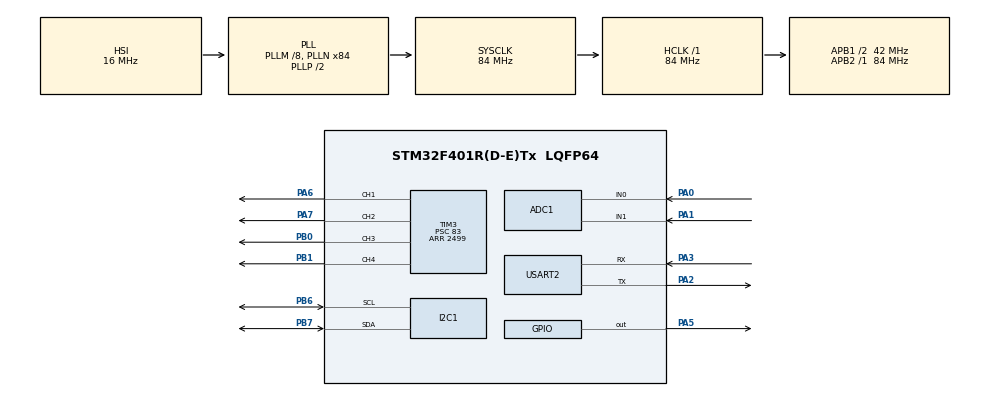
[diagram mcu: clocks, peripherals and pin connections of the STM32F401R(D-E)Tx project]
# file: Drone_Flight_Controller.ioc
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ADC1.Channel-0\#ChannelRegularConversion=ADC_CHANNEL_1
ADC1.Channel-1\#ChannelRegularConversion=ADC_CHANNEL_0
ADC1.ContinuousConvMode=ENABLE
ADC1.NbrOfConversion=2
ADC1.NbrOfConversionFlag=1
ADC1.Rank-0\#ChannelRegularConversion=1
ADC1.Rank-1\#ChannelRegularConversion=2
ADC1.SamplingTime-0\#ChannelRegularConversion=ADC_SAMPLETIME_3CYCLES
ADC1.SamplingTime-1\#ChannelRegularConversion=ADC_SAMPLETIME_3CYCLES
ADC1.master=1
FREERTOS.Queues01=sensorData,30,float,0,Dynamic,NULL,NULL
FREERTOS.Tasks01=contole,48,512,StartDefaultTask,Default,NULL,Dynamic,NULL,NULL;sensor_read,48,512,StartTask02,Default,NULL,Dynamic,NULL,NULL;senosr_fusion,32,512,StartTask03,Default,NULL,Dynamic,NULL,NULL;motoroutput,32,512,StartTask04,Default,NULL,Dynamic,NULL,NULL;communication,25,512,StartTask05,Default,NULL,Dynamic,NULL,NULL;GPS,12,128,StartTask06,Default,NULL,Dynamic,NULL,NULL
Mcu.Family=STM32F4
Mcu.Name=STM32F401R(D-E)Tx
Mcu.Package=LQFP64
NVIC.PriorityGroup=NVIC_PRIORITYGROUP_4
NVIC.TIM2_IRQn=true\:15\:0\:false\:false\:true\:false\:false\:true\:true
NVIC.TimeBase=TIM2_IRQn
NVIC.TimeBaseIP=TIM2
PA0-WKUP.Signal=ADCx_IN0
PA1.Signal=ADCx_IN1
PA13.Mode=Serial_Wire
PA13.Signal=SYS_JTMS-SWDIO
PA14.Mode=Serial_Wire
PA14.Signal=SYS_JTCK-SWCLK
PA2.Mode=Asynchronous
PA2.Signal=USART2_TX
PA3.Mode=Asynchronous
PA3.Signal=USART2_RX
PA5.Signal=GPIO_Output
PA6.Signal=S_TIM3_CH1
PA7.Signal=S_TIM3_CH2
PB0.Signal=S_TIM3_CH3
PB1.Signal=S_TIM3_CH4
PB6.Mode=I2C
PB6.Signal=I2C1_SCL
PB7.Mode=I2C
PB7.Signal=I2C1_SDA
ProjectManager.HeapSize=0x200
ProjectManager.StackSize=0x400
ProjectManager.TargetToolchain=STM32CubeIDE
RCC.48MHZClocksFreq_Value=42000000
RCC.AHBFreq_Value=84000000
RCC.APB1CLKDivider=RCC_HCLK_DIV2
RCC.APB1Freq_Value=42000000
RCC.APB1TimFreq_Value=84000000
RCC.APB2Freq_Value=84000000
RCC.APB2TimFreq_Value=84000000
RCC.CortexFreq_Value=84000000
RCC.HCLKFreq_Value=84000000
RCC.HSE_VALUE=25000000
RCC.HSI_VALUE=16000000
RCC.LSE_VALUE=32768
RCC.PLLM=8
RCC.PLLN=84
RCC.SYSCLKFreq_VALUE=84000000
RCC.SYSCLKSource=RCC_SYSCLKSOURCE_PLLCLK
RCC.VCOOutputFreq_Value=168000000
SH.ADCx_IN0.0=ADC1_IN0,IN0
SH.ADCx_IN1.0=ADC1_IN1,IN1
SH.S_TIM3_CH1.0=TIM3_CH1,PWM Generation1 CH1
SH.S_TIM3_CH2.0=TIM3_CH2,PWM Generation2 CH2
SH.S_TIM3_CH3.0=TIM3_CH3,PWM Generation3 CH3
SH.S_TIM3_CH4.0=TIM3_CH4,PWM Generation4 CH4
TIM3.Channel-PWM\ Generation1\ CH1=TIM_CHANNEL_1
TIM3.Channel-PWM\ Generation2\ CH2=TIM_CHANNEL_2
TIM3.Channel-PWM\ Generation3\ CH3=TIM_CHANNEL_3
TIM3.Channel-PWM\ Generation4\ CH4=TIM_CHANNEL_4
TIM3.Period=2499
TIM3.Prescaler=83
USART2.VirtualMode=VM_ASYNC
VP_FREERTOS_VS_CMSIS_V2.Mode=CMSIS_V2
VP_SYS_VS_tim2.Mode=TIM2
VP_TIM3_VS_ClockSourceINT.Mode=Internal
board=custom

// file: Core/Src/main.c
/* USER CODE BEGIN Header */
/**
  ******************************************************************************
  * @file           : main.c
  * @brief          : Main program body
  ******************************************************************************
  * @attention
  *
  * Copyright (c) 2026 STMicroelectronics.
  * All rights reserved.
  *
  * This software is licensed under terms that can be found in the LICENSE file
  * in the root directory of this software component.
  * If no LICENSE file comes with this software, it is provided AS-IS.
  *
  ******************************************************************************
  */
/* USER CODE END Header */
#include "main.h"
#include "cmsis_os.h"

/* USER CODE BEGIN Includes */
#include <stdio.h>
#include <string.h>

// Global structure to hold all sensor data
typedef struct {
    // MPU6050 Data
    int16_t accel_x, accel_y, accel_z;
    int16_t gyro_x, gyro_y, gyro_z;

    // HMC5883L Data
    int16_t mag_x, mag_y, mag_z;

    // Hall Effect Sensor Data
    uint32_t hall_value;

    // GPS Data
    float latitude;
    float longitude;
} DroneSensorData_t;
// Instantiate the structure
DroneSensorData_t drone_data = {0};
/* USER CODE BEGIN PV */
float kalman_angle = 0.0f;
float kalman_bias = 0.0f;
float P[2][2] = {{0, 0}, {0, 0}};

float updateKalman(float newAngle, float newRate, float dt) {
    // Prediction
    float rate = newRate - kalman_bias;
    kalman_angle += dt * rate;

    P[0][0] += dt * (dt * P[1][1] - P[0][1] - P[1][0] + 0.001f);
    P[0][1] -= dt * P[1][1];
    P[1][0] -= dt * P[1][1];
    P[1][1] += 0.003f * dt;

    // Measurement Update
    float S = P[0][0] + 0.03f;
    float K[2] = {P[0][0] / S, P[1][0] / S};

    float y = newAngle - kalman_angle;
    kalman_angle += K[0] * y;
    kalman_bias += K[1] * y;

    P[0][0] -= K[0] * P[0][0];
    P[0][1] -= K[0] * P[0][1];
    P[1][0] -= K[1] * P[0][0];
    P[1][1] -= K[1] * P[0][1];

    return kalman_angle;
}
/* USER CODE END PV */

// I2C Addresses (Shifted left by 1 for HAL)
#define MPU6050_ADDR (0x68 << 1)
#define HMC5883L_ADDR (0x1E << 1)

/* USER CODE END Includes */

ADC_HandleTypeDef hadc1;

I2C_HandleTypeDef hi2c1;

TIM_HandleTypeDef htim3;

UART_HandleTypeDef huart2;

/* Definitions for contole */
osThreadId_t contoleHandle;
const osThreadAttr_t contole_attributes = {
  .name = "contole",
  .stack_size = 512 * 4,
  .priority = (osPriority_t) osPriorityRealtime,
};
/* Definitions for sensor_read */
osThreadId_t sensor_readHandle;
const osThreadAttr_t sensor_read_attributes = {
  .name = "sensor_read",
  .stack_size = 512 * 4,
  .priority = (osPriority_t) osPriorityRealtime,
};
/* Definitions for senosr_fusion */
osThreadId_t senosr_fusionHandle;
const osThreadAttr_t senosr_fusion_attributes = {
  .name = "senosr_fusion",
  .stack_size = 512 * 4,
  .priority = (osPriority_t) osPriorityAboveNormal,
};
/* Definitions for motoroutput */
osThreadId_t motoroutputHandle;
const osThreadAttr_t motoroutput_attributes = {
  .name = "motoroutput",
  .stack_size = 512 * 4,
  .priority = (osPriority_t) osPriorityAboveNormal,
};
/* Definitions for communication */
osThreadId_t communicationHandle;
const osThreadAttr_t communication_attributes = {
  .name = "communication",
  .stack_size = 512 * 4,
  .priority = (osPriority_t) osPriorityNormal1,
};
/* Definitions for GPS */
osThreadId_t GPSHandle;
const osThreadAttr_t GPS_attributes = {
  .name = "GPS",
  .stack_size = 128 * 4,
  .priority = (osPriority_t) osPriorityLow4,
};
/* Definitions for sensorData */
osMessageQueueId_t sensorDataHandle;
const osMessageQueueAttr_t sensorData_attributes = {
  .name = "sensorData"
};

void SystemClock_Config(void);
static void MX_GPIO_Init(void);
static void MX_ADC1_Init(void);
static void MX_I2C1_Init(void);
static void MX_USART2_UART_Init(void);
static void MX_TIM3_Init(void);
void StartDefaultTask(void *argument);
void StartTask02(void *argument);
void StartTask03(void *argument);
void StartTask04(void *argument);
void StartTask05(void *argument);
void StartTask06(void *argument);

int main(void)
{

  /* MCU Configuration--------------------------------------------------------*/

  /* Reset of all peripherals, Initializes the Flash interface and the Systick. */
  HAL_Init();

  /* Configure the system clock */
  SystemClock_Config();

  /* Initialize all configured peripherals */
  MX_GPIO_Init();
  MX_ADC1_Init();
  MX_I2C1_Init();
  MX_USART2_UART_Init();
  MX_TIM3_Init();
  /* USER CODE BEGIN 2 */
  char debug_msg[] = "DEBUG: UART Transmission is working perfectly!\r\n";
  HAL_UART_Transmit(&huart2, (uint8_t*)debug_msg, strlen(debug_msg), HAL_MAX_DELAY);

  /* USER CODE END 2 */

  /* Init scheduler */
  osKernelInitialize();

  /* Create the queue(s) */
  /* creation of sensorData */
  sensorDataHandle = osMessageQueueNew (30, sizeof(float), &sensorData_attributes);

  /* Create the thread(s) */
  /* creation of contole */
  contoleHandle = osThreadNew(StartDefaultTask, NULL, &contole_attributes);

  /* creation of sensor_read */
  sensor_readHandle = osThreadNew(StartTask02, NULL, &sensor_read_attributes);

  /* creation of senosr_fusion */
  senosr_fusionHandle = osThreadNew(StartTask03, NULL, &senosr_fusion_attributes);

  /* creation of motoroutput */
  motoroutputHandle = osThreadNew(StartTask04, NULL, &motoroutput_attributes);

  /* creation of communication */
  communicationHandle = osThreadNew(StartTask05, NULL, &communication_attributes);

  /* creation of GPS */
  GPSHandle = osThreadNew(StartTask06, NULL, &GPS_attributes);

  /* Start scheduler */
  osKernelStart();

  /* We should never get here as control is now taken by the scheduler */

  /* Infinite loop */
  while (1)
  {

  }
}

void SystemClock_Config(void)
{
  RCC_OscInitTypeDef RCC_OscInitStruct = {0};
  RCC_ClkInitTypeDef RCC_ClkInitStruct = {0};

  /** Configure the main internal regulator output voltage
  */
  __HAL_RCC_PWR_CLK_ENABLE();
  __HAL_PWR_VOLTAGESCALING_CONFIG(PWR_REGULATOR_VOLTAGE_SCALE2);

  /** Initializes the RCC Oscillators according to the specified parameters
  * in the RCC_OscInitTypeDef structure.
  */
  RCC_OscInitStruct.OscillatorType = RCC_OSCILLATORTYPE_HSI;
  RCC_OscInitStruct.HSIState = RCC_HSI_ON;
  RCC_OscInitStruct.HSICalibrationValue = RCC_HSICALIBRATION_DEFAULT;
  RCC_OscInitStruct.PLL.PLLState = RCC_PLL_ON;
  RCC_OscInitStruct.PLL.PLLSource = RCC_PLLSOURCE_HSI;
  RCC_OscInitStruct.PLL.PLLM = 8;
  RCC_OscInitStruct.PLL.PLLN = 84;
  RCC_OscInitStruct.PLL.PLLP = RCC_PLLP_DIV2;
  RCC_OscInitStruct.PLL.PLLQ = 4;
  if (HAL_RCC_OscConfig(&RCC_OscInitStruct) != HAL_OK)
  {
    Error_Handler();
  }

  /** Initializes the CPU, AHB and APB buses clocks
  */
  RCC_ClkInitStruct.ClockType = RCC_CLOCKTYPE_HCLK|RCC_CLOCKTYPE_SYSCLK
                              |RCC_CLOCKTYPE_PCLK1|RCC_CLOCKTYPE_PCLK2;
  RCC_ClkInitStruct.SYSCLKSource = RCC_SYSCLKSOURCE_PLLCLK;
  RCC_ClkInitStruct.AHBCLKDivider = RCC_SYSCLK_DIV1;
  RCC_ClkInitStruct.APB1CLKDivider = RCC_HCLK_DIV2;
  RCC_ClkInitStruct.APB2CLKDivider = RCC_HCLK_DIV1;

  if (HAL_RCC_ClockConfig(&RCC_ClkInitStruct, FLASH_LATENCY_2) != HAL_OK)
  {
    Error_Handler();
  }
}

static void MX_ADC1_Init(void)
{

  ADC_ChannelConfTypeDef sConfig = {0};

  /** Configure the global features of the ADC (Clock, Resolution, Data Alignment and number of conversion)
  */
  hadc1.Instance = ADC1;
  hadc1.Init.ClockPrescaler = ADC_CLOCK_SYNC_PCLK_DIV4;
  hadc1.Init.Resolution = ADC_RESOLUTION_12B;
  hadc1.Init.ScanConvMode = ENABLE;
  hadc1.Init.ContinuousConvMode = ENABLE;
  hadc1.Init.DiscontinuousConvMode = DISABLE;
  hadc1.Init.ExternalTrigConvEdge = ADC_EXTERNALTRIGCONVEDGE_NONE;
  hadc1.Init.ExternalTrigConv = ADC_SOFTWARE_START;
  hadc1.Init.DataAlign = ADC_DATAALIGN_RIGHT;
  hadc1.Init.NbrOfConversion = 2;
  hadc1.Init.DMAContinuousRequests = DISABLE;
  hadc1.Init.EOCSelection = ADC_EOC_SINGLE_CONV;
  if (HAL_ADC_Init(&hadc1) != HAL_OK)
  {
    Error_Handler();
  }

  /** Configure for the selected ADC regular channel its corresponding rank in the sequencer and its sample time.
  */
  sConfig.Channel = ADC_CHANNEL_1;
  sConfig.Rank = 1;
  sConfig.SamplingTime = ADC_SAMPLETIME_3CYCLES;
  if (HAL_ADC_ConfigChannel(&hadc1, &sConfig) != HAL_OK)
  {
    Error_Handler();
  }

  /** Configure for the selected ADC regular channel its corresponding rank in the sequencer and its sample time.
  */
  sConfig.Channel = ADC_CHANNEL_0;
  sConfig.Rank = 2;
  if (HAL_ADC_ConfigChannel(&hadc1, &sConfig) != HAL_OK)
  {
    Error_Handler();
  }

}

static void MX_I2C1_Init(void)
{

  hi2c1.Instance = I2C1;
  hi2c1.Init.ClockSpeed = 100000;
  hi2c1.Init.DutyCycle = I2C_DUTYCYCLE_2;
  hi2c1.Init.OwnAddress1 = 0;
  hi2c1.Init.AddressingMode = I2C_ADDRESSINGMODE_7BIT;
  hi2c1.Init.DualAddressMode = I2C_DUALADDRESS_DISABLE;
  hi2c1.Init.OwnAddress2 = 0;
  hi2c1.Init.GeneralCallMode = I2C_GENERALCALL_DISABLE;
  hi2c1.Init.NoStretchMode = I2C_NOSTRETCH_DISABLE;
  if (HAL_I2C_Init(&hi2c1) != HAL_OK)
  {
    Error_Handler();
  }

}

static void MX_TIM3_Init(void)
{

  TIM_ClockConfigTypeDef sClockSourceConfig = {0};
  TIM_MasterConfigTypeDef sMasterConfig = {0};
  TIM_OC_InitTypeDef sConfigOC = {0};

  htim3.Instance = TIM3;
  htim3.Init.Prescaler = 83;
  htim3.Init.CounterMode = TIM_COUNTERMODE_UP;
  htim3.Init.Period = 2499;
  htim3.Init.ClockDivision = TIM_CLOCKDIVISION_DIV1;
  htim3.Init.AutoReloadPreload = TIM_AUTORELOAD_PRELOAD_DISABLE;
  if (HAL_TIM_Base_Init(&htim3) != HAL_OK)
  {
    Error_Handler();
  }
  sClockSourceConfig.ClockSource = TIM_CLOCKSOURCE_INTERNAL;
  if (HAL_TIM_ConfigClockSource(&htim3, &sClockSourceConfig) != HAL_OK)
  {
    Error_Handler();
  }
  if (HAL_TIM_PWM_Init(&htim3) != HAL_OK)
  {
    Error_Handler();
  }
  sMasterConfig.MasterOutputTrigger = TIM_TRGO_RESET;
  sMasterConfig.MasterSlaveMode = TIM_MASTERSLAVEMODE_DISABLE;
  if (HAL_TIMEx_MasterConfigSynchronization(&htim3, &sMasterConfig) != HAL_OK)
  {
    Error_Handler();
  }
  sConfigOC.OCMode = TIM_OCMODE_PWM1;
  sConfigOC.Pulse = 0;
  sConfigOC.OCPolarity = TIM_OCPOLARITY_HIGH;
  sConfigOC.OCFastMode = TIM_OCFAST_DISABLE;
  if (HAL_TIM_PWM_ConfigChannel(&htim3, &sConfigOC, TIM_CHANNEL_1) != HAL_OK)
  {
    Error_Handler();
  }
  if (HAL_TIM_PWM_ConfigChannel(&htim3, &sConfigOC, TIM_CHANNEL_2) != HAL_OK)
  {
    Error_Handler();
  }
  if (HAL_TIM_PWM_ConfigChannel(&htim3, &sConfigOC, TIM_CHANNEL_3) != HAL_OK)
  {
    Error_Handler();
  }
  if (HAL_TIM_PWM_ConfigChannel(&htim3, &sConfigOC, TIM_CHANNEL_4) != HAL_OK)
  {
    Error_Handler();
  }
  HAL_TIM_MspPostInit(&htim3);

}

static void MX_USART2_UART_Init(void)
{

  huart2.Instance = USART2;
  huart2.Init.BaudRate = 115200;
  huart2.Init.WordLength = UART_WORDLENGTH_8B;
  huart2.Init.StopBits = UART_STOPBITS_1;
  huart2.Init.Parity = UART_PARITY_NONE;
  huart2.Init.Mode = UART_MODE_TX_RX;
  huart2.Init.HwFlowCtl = UART_HWCONTROL_NONE;
  huart2.Init.OverSampling = UART_OVERSAMPLING_16;
  if (HAL_UART_Init(&huart2) != HAL_OK)
  {
    Error_Handler();
  }

}

static void MX_GPIO_Init(void)
{
  GPIO_InitTypeDef GPIO_InitStruct = {0};

  /* GPIO Ports Clock Enable */
  __HAL_RCC_GPIOA_CLK_ENABLE();
  __HAL_RCC_GPIOB_CLK_ENABLE();

  /*Configure GPIO pin Output Level */
  HAL_GPIO_WritePin(GPIOA, GPIO_PIN_5, GPIO_PIN_RESET);

  /*Configure GPIO pin : PA5 */
  GPIO_InitStruct.Pin = GPIO_PIN_5;
  GPIO_InitStruct.Mode = GPIO_MODE_OUTPUT_PP;
  GPIO_InitStruct.Pull = GPIO_NOPULL;
  GPIO_InitStruct.Speed = GPIO_SPEED_FREQ_LOW;
  HAL_GPIO_Init(GPIOA, &GPIO_InitStruct);

}

void StartDefaultTask(void *argument)
{
  /* USER CODE BEGIN 5 */
  /* Infinite loop */
  for(;;)
  {
    osDelay(10000);
  }
  /* USER CODE END 5 */
}

void StartTask02(void *argument)
{
  /* USER CODE BEGIN StartTask02 */
  /* Infinite loop */
	/* USER CODE BEGIN StartTask02 */
	  uint8_t mpu_buf[14];

	  // Note: You must initialize the MPU6050 and HMC5883L before the loop
	  // (e.g., waking up the MPU6050 by writing 0x00 to register 0x6B)
	  uint8_t wakeup = 0x00;
	  HAL_I2C_Mem_Write(&hi2c1, MPU6050_ADDR, 0x6B, 1, &wakeup, 1, 100);
	  osDelay(10);

	  /* Infinite loop */
	  for(;;)
	  {
	    // 1. Read MPU6050 (Accel & Gyro starting at register 0x3B)
	    if (HAL_I2C_Mem_Read(&hi2c1, MPU6050_ADDR, 0x3B, 1, mpu_buf, 14, 100) == HAL_OK) {
	        drone_data.accel_x = (mpu_buf[0] << 8) | mpu_buf[1];
	        drone_data.accel_y = (mpu_buf[2] << 8) | mpu_buf[3];
	        drone_data.accel_z = (mpu_buf[4] << 8) | mpu_buf[5];
	        // mpu_buf[6] & [7] is temperature
	        drone_data.gyro_x  = (mpu_buf[8] << 8) | mpu_buf[9];
	        drone_data.gyro_y  = (mpu_buf[10] << 8) | mpu_buf[11];
	        drone_data.gyro_z  = (mpu_buf[12] << 8) | mpu_buf[13];
	    }

	    // 2. Read HMC5883L (Magnetometer starting at register 0x03)
	   // if (HAL_I2C_Mem_Read(&hi2c1, HMC5883L_ADDR, 0x03, 1, mag_buf, 6, 100) == HAL_OK) {
	     //   drone_data.mag_x = (mag_buf[0] << 8) | mag_buf[1];
	       // drone_data.mag_z = (mag_buf[2] << 8) | mag_buf[3]; // Note: HMC5883L order is X, Z, Y
	        //drone_data.mag_y = (mag_buf[4] << 8) | mag_buf[5];
	   // }

	    // 3. Read Hall Effect Sensor (ADC)
	   // HAL_ADC_Start(&hadc1);
	    //if (HAL_ADC_PollForConversion(&hadc1, 10) == HAL_OK) {
	       // drone_data.hall_value = HAL_ADC_GetValue(&hadc1);
	    //}
	    //HAL_ADC_Stop(&hadc1);

	    // Run this thread at roughly 100Hz (10ms delay)
	    osDelay(10);
	    HAL_GPIO_TogglePin(GPIOA, GPIO_PIN_5);

	  }
  /* USER CODE END StartTask02 */
}

void StartTask03(void *argument)
{
  float dt = 0.01f; // 100Hz timing
  float roll_to_send;

  for(;;)
  {
    // Convert Raw Accel to Degrees
    float accY = drone_data.accel_y / 16384.0f;
    float accZ = drone_data.accel_z / 16384.0f;
    float angle_acc = atan2(accY, accZ) * 57.295f;

    float gyro_rate = drone_data.gyro_x / 131.0f;

    // Run Kalman and capture the result
    roll_to_send = updateKalman(angle_acc, gyro_rate, dt);

    // PUSH to Queue: Send the float to Task 04
    osMessageQueuePut(sensorDataHandle, &roll_to_send, 0, 10);

    osDelay(10); // Maintain 100Hz frequency
  }
}

void StartTask04(void *argument)
{
  /* USER CODE BEGIN StartTask04 */

  // 1. Initialize PID variables
  float integral = 0.0f;
  float last_error = 0.0f;
  float error = 0.0f;
  float derivative = 0.0f;
  float pid_out = 0.0f;

  // PID Constants - These are starting points, you will likely need to tune them!
  float kp = 1.25f;
  float ki = 0.02f;
  float kd = 0.45f;

  // Base throttle for hovering (1000 is idle, 2000 is full power)
  // Warning: Start low (e.g., 1200) for safety during testing!
  uint16_t base_hover_throttle = 1450;

  // 2. Start all 4 PWM Channels on Timer 3
  HAL_TIM_PWM_Start(&htim3, TIM_CHANNEL_1);
  HAL_TIM_PWM_Start(&htim3, TIM_CHANNEL_2);
  HAL_TIM_PWM_Start(&htim3, TIM_CHANNEL_3);
  HAL_TIM_PWM_Start(&htim3, TIM_CHANNEL_4);

  /* Infinite loop */
  for(;;)
  {
    // 3. Calculate PID Error (Target is 0.0 degrees for level hover)
    // We use the global 'kalman_angle' updated by Task 03
    error = 0.0f - kalman_angle;

    // 4. Integral calculation with 'Anti-Windup' clamp
    integral += error * 0.01f; // 0.01f because task runs at 100Hz (10ms)
    if(integral > 400.0f)  integral = 400.0f;
    if(integral < -400.0f) integral = -400.0f;

    // 5. Derivative calculation
    derivative = (error - last_error) / 0.01f;

    // 6. Compute total PID output
    pid_out = (kp * error) + (ki * integral) + (kd * derivative);
    last_error = error;

    // 7. Motor Mixing Logic (X-Configuration)
    // m1: Front-Right, m2: Front-Left, m3: Rear-Left, m4: Rear-Right
    // This logic assumes pid_out is correcting for ROLL.
    int16_t m1 = (int16_t)(base_hover_throttle + pid_out);
    int16_t m2 = (int16_t)(base_hover_throttle - pid_out);
    int16_t m3 = (int16_t)(base_hover_throttle - pid_out);
    int16_t m4 = (int16_t)(base_hover_throttle + pid_out);

    // 8. Final Safety Clamps (Crucial!)
    // Ensures we stay within the standard ESC range of 1ms to 2ms
    if(m1 > 2000) m1 = 2000; if(m1 < 1000) m1 = 1000;
    if(m2 > 2000) m2 = 2000; if(m2 < 1000) m2 = 1000;
    if(m3 > 2000) m3 = 2000; if(m3 < 1000) m3 = 1000;
    if(m4 > 2000) m4 = 2000; if(m4 < 1000) m4 = 1000;

    // 9. Update the Hardware Timer Registers
    __HAL_TIM_SET_COMPARE(&htim3, TIM_CHANNEL_1, m1);
    __HAL_TIM_SET_COMPARE(&htim3, TIM_CHANNEL_2, m2);
    __HAL_TIM_SET_COMPARE(&htim3, TIM_CHANNEL_3, m3);
    __HAL_TIM_SET_COMPARE(&htim3, TIM_CHANNEL_4, m4);

    // 10. Loop timing (100Hz)
    osDelay(10);
  }
  /* USER CODE END StartTask04 */
}

void StartTask05(void *argument)
{
  /* USER CODE BEGIN StartTask05 */
  /* Infinite loop */

	  /* USER CODE BEGIN StartTask05 */

	  // Create a buffer to hold the formatted string
	  char tx_buffer[128];

	  /* Infinite loop */
	  for(;;)
	  {
	    // 1. Format the data into a CSV string
	    // Format: AccelX,AccelY,AccelZ,GyroX,GyroY,GyroZ,MagX,MagY,MagZ,Hall,Lat,Lon
	    snprintf(tx_buffer, sizeof(tx_buffer),
	             "%d,%d,%d,%d,%d,%d\r\n",
	             drone_data.accel_x, drone_data.accel_y, drone_data.accel_z,
	             drone_data.gyro_x, drone_data.gyro_y, drone_data.gyro_z);

	    // 2. Transmit the formatted string over UART1
	    HAL_UART_Transmit(&huart2, (uint8_t*)tx_buffer, strlen(tx_buffer), HAL_MAX_DELAY);

	    // 3. Wait before sending the next packet.
	    // 20ms delay gives roughly a 50Hz update rate, which is good for simulation.
	    osDelay(20);
	  }
  /* USER CODE END StartTask05 */
}

void StartTask06(void *argument)
{
  for(;;)
  {
    osDelay(1);
  }
}

void HAL_TIM_PeriodElapsedCallback(TIM_HandleTypeDef *htim)
{
  if (htim->Instance == TIM2)
  {
    HAL_IncTick();
  }
}

void Error_Handler(void)
{
  __disable_irq();
  while (1)
  {
  }
}
